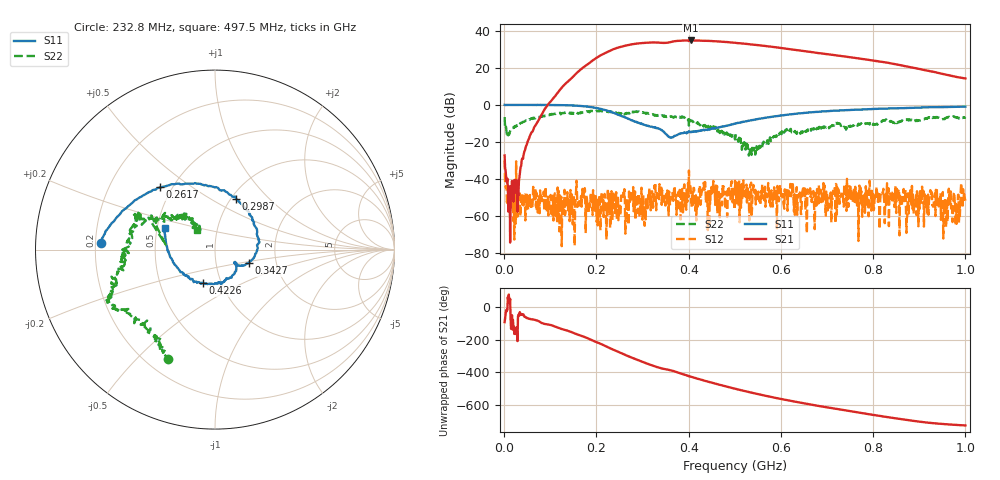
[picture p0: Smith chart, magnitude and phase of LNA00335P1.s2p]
! Created with skrf 1.9.0 (http://scikit-rf.org).
# Hz S RI R 50.0
!freq ReS11 ImS11 ReS21 ImS21 ReS12 ImS12 ReS22 ImS22
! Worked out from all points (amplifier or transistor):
!   1001 points, 1 MHz to 1 GHz, reference 50 ohm
!   highest |S21| = 34.7 dB at 404.6 MHz (marker M1)
!   |S21| within 3 dB of that: 260 MHz to 566.3 MHz (306.3 MHz wide, 74.1 % of centre)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
!   unconditionally stable (mu >= 1): 4.564 MHz to 67.75 MHz; 232.8 MHz to 400.5 MHz; 400.8 MHz to end of sweep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
!   at 166.8 MHz: K = 1.67, MAG = 29.4 dB, |S12| = -49.1 dB
!   at 500.5 MHz: K = 1.23, MAG = 34.3 dB, |S12| = -40.9 dB
!   at 1 GHz: K = 5.78, MAG = 22.4 dB, |S12| = -51.6 dB
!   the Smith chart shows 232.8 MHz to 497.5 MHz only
!   S11 on the Smith chart (normalised r, x): 232.8 MHz: 0.22, +0.03; 261.7 MHz: 0.43, +0.38; 298.7 MHz: 1.06, +0.66; 342.7 MHz: 1.44, -0.23; 422.6 MHz: 0.82, -0.32; 497.5 MHz: 0.55, +0.15
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1000000  1.004 0.0193  -0.0017 -0.0433  -0.0267 0.0165  0.3243 0.3409
1.08892e8  0.502 -0.8591  -0.7769 -1.441  0.00137 0.00297  0.4302 -0.3728
1.67833e8  -0.2673 -0.8912  -9.412 -0.5324  0.00099 -0.00151  0.0449 -0.6254
2.05795e8  -0.6732 -0.4218  -15.24 13.71  -0.000713 -0.00161  -0.1624 -0.6683
2.32768e8  -0.635 0.039  -6.681 29.32  -0.000314 -0.00472  -0.2631 -0.6084
2.61739e8  -0.3055 0.3467  15.37 35.75  0.00151 0.00201  -0.4034 -0.4182
2.8072e8  -0.0594 0.3583  31 30.72  0.00114 -0.000746  -0.5666 -0.3095
2.98702e8  0.1176 0.2817  42.01 19.11  -0.00202 -0.00031  -0.5782 -0.26
3.34666e8  0.2309 -0.0168  46.68 -9.698  -0.00349 0.00217  -0.5165 -0.0383
3.42658e8  0.1889 -0.0763  44.62 -14.52  0.00197 0.00456  -0.5082 -0.0508
3.72628e8  0.1185 -0.0917  41.1 -32.81  0.00355 0.00132  -0.4481 0.1642
4.04596e8  0.0244 -0.1857  20.31 -50.53  0.00326 0.0038  -0.3228 0.1616
4.22578e8  -0.0689 -0.1859  6.478 -53.46  0.00494 0.00197  -0.2479 0.1723
4.55545e8  -0.2118 -0.0978  -17.25 -48.92  0.00521 0.00201  -0.1598 0.1994
4.97503e8  -0.2794 0.1223  -36.34 -30.53  0.00496 -0.00163  -0.1014 0.1092
5.005e8  -0.2816 0.1404  -37.49 -28.84  0.00851 0.00295  -0.0764 0.0889
5.4046e8  -0.1907 0.3429  -41.1 -7.967  0.00648 -0.00254  -0.0604 0.0218
5.88412e8  0.018 0.496  -33.85 11.52  0.00381 -0.00272  -0.1057 -0.0865
6.67333e8  0.4007 0.4895  -12.65 22.94  -0.000819 -0.00227  -0.2211 -0.0551
7.53247e8  0.679 0.2753  3.853 18.58  -0.00121 -0.00497  -0.2643 -0.00469
8.34166e8  0.7981 0.00796  10.03 8.978  0.000377 -0.000389  -0.3787 -0.00838
1e9  0.7195 -0.5365  5.116 -0.7321  -0.00194 -0.00177  -0.3447 0.3178
